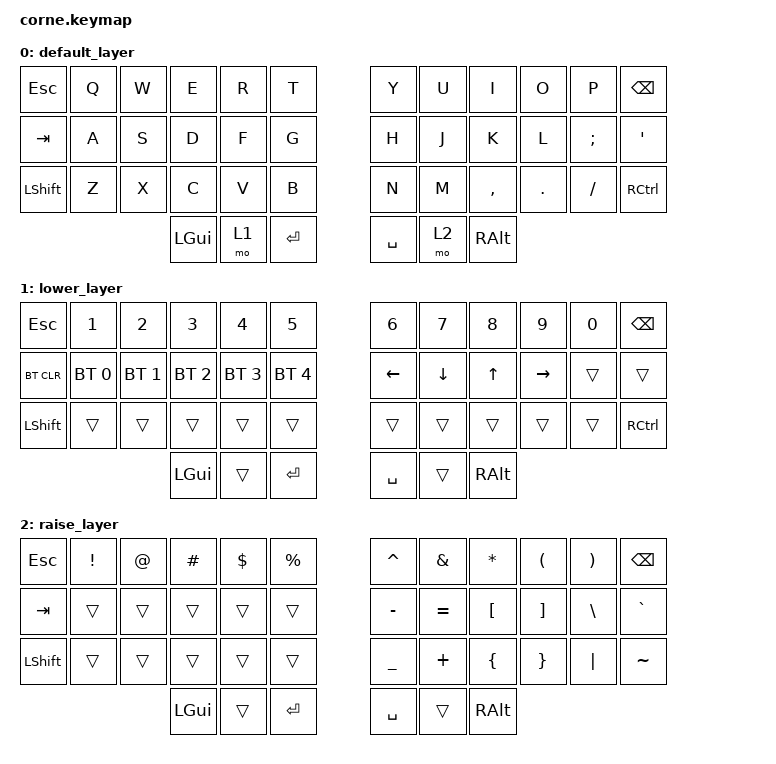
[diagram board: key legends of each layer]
/*
 * Copyright (c) 2020 The ZMK Contributors
 *
 * SPDX-License-Identifier: MIT
 */

#include <behaviors.dtsi>
#include <dt-bindings/zmk/keys.h>
#include <dt-bindings/zmk/bt.h>

/ {
        keymap {
                compatible = "zmk,keymap";

                default_layer {
// -----------------------------------------------------------------------------------------
// |  ESC |  Q  |  W  |  E  |  R  |  T  |   |  Y  |  U   |  I  |  O  |  P  | BSPC |
// |  TAB |  A  |  S  |  D  |  F  |  G  |   |  H  |  J   |  K  |  L  |  ;  |  '   |
// | SHFT |  Z  |  X  |  C  |  V  |  B  |   |  N  |  M   |  ,  |  .  |  /  | CTRL |
//                    | GUI | LWR | ENT |   | SPC | RSE  | ALT |
                        bindings = <
   &kp ESC   &kp Q &kp W &kp E &kp R &kp T   &kp Y &kp U  &kp I     &kp O   &kp P    &kp BSPC
   &kp TAB   &kp A &kp S &kp D &kp F &kp G   &kp H &kp J  &kp K     &kp L   &kp SEMI &kp SQT
   &kp LSHFT &kp Z &kp X &kp C &kp V &kp B   &kp N &kp M  &kp COMMA &kp DOT &kp FSLH &kp RCTRL
                  &kp LGUI &mo 1 &kp RET     &kp SPACE &mo 2 &kp RALT
                        >;
                };
                lower_layer {
// -----------------------------------------------------------------------------------------
// |  ESC |  1  |  2  |  3  |  4  |  5  |   |  6  |  7  |  8  |  9  |  0  | BSPC |
// | BTCLR| BT1 | BT2 | BT3 | BT4 | BT5 |   | LFT | DWN |  UP | RGT |     |      |
// | SHFT |     |     |     |     |     |   |     |     |     |     |     | CTRL |
//                    | GUI |     | ENT |   | SPC |     | ALT |
                        bindings = <
   &kp ESC    &kp N1       &kp N2       &kp N3       &kp N4       &kp N5         &kp N6   &kp N7   &kp N8 &kp N9    &kp N0 &kp BSPC
   &bt BT_CLR &bt BT_SEL 0 &bt BT_SEL 1 &bt BT_SEL 2 &bt BT_SEL 3 &bt BT_SEL 4   &kp LEFT &kp DOWN &kp UP &kp RIGHT &trans &trans
   &kp LSHFT  &trans       &trans       &trans       &trans       &trans         &trans   &trans   &trans &trans    &trans &kp RCTRL
                                    &kp LGUI     &trans       &kp RET        &kp SPACE  &trans   &kp RALT
                        >;
                };

                raise_layer {
// -----------------------------------------------------------------------------------------
// |  ESC |  !  |  @  |  #  |  $  |  %  |   |  ^  |  &  |  *  |  (  |  )  | BSPC |
// |  TAB |     |     |     |     |     |   |  -  |  =  |  [  |  ]  |  \  |  `   |
// | SHFT |     |     |     |     |     |   |  _  |  +  |  {  |  }  | "|" |  ~   |
//                    | GUI |     | ENT |   | SPC |     | ALT |
                        bindings = <
   &kp  ESC  &kp EXCL &kp AT &kp HASH &kp DLLR &kp PRCNT   &kp CARET &kp AMPS  &kp ASTRK &kp LPAR &kp RPAR &kp BSPC
   &kp TAB   &trans   &trans &trans   &trans   &trans      &kp MINUS &kp EQUAL &kp LBKT  &kp RBKT &kp BSLH &kp GRAVE
   &kp LSHFT &trans   &trans &trans   &trans   &trans      &kp UNDER &kp PLUS  &kp LBRC  &kp RBRC &kp PIPE &kp TILDE
                             &kp LGUI &trans   &kp RET     &kp SPACE   &trans    &kp RALT
                        >;
                };
        };
};
